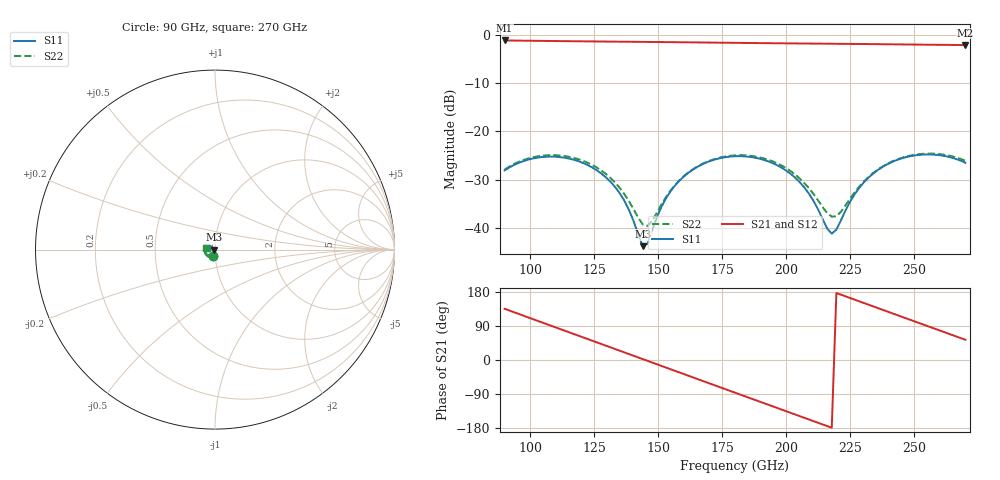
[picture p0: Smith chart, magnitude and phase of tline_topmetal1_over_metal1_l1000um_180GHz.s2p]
#  GHZ S DB R 50
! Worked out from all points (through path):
!   101 points, 90 GHz to 270 GHz, reference 50 ohm
!   highest |S21| = -1.18 dB at 90 GHz (marker M1); lowest = -2.1 dB at 270 GHz (marker M2)
!   group delay of S21, straight-line fit = 6.82 ps
!   lowest |S11| = -43.8 dB at 144 GHz (marker M3), VSWR 1.01, Z = 49.4 - j0.122 ohm
!   |S11| at or under -10 dB: start of sweep to end of sweep
!   |S22| runs from -39.6 to -24.6 dB; largest |S21 - S12| = 9.3e-14
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90  -28.12 -109.5  -1.18 135.2  -1.18 135.2  -27.94 -108.3
99  -25.91 -130.3  -1.23 113.0  -1.23 113.0  -25.68 -128.3
106.2  -25.27 -147.5  -1.28 95.2  -1.28 95.2  -25.00 -144.8
120.6  -26.56 179.0  -1.36 59.8  -1.36 59.8  -26.12 -176.5
127.8  -28.76 163.8  -1.40 42.1  -1.40 42.1  -28.15 169.8
135  -32.87 152.4  -1.43 24.4  -1.43 24.4  -31.76 161.1
138.6  -36.31 151.9  -1.45 15.6  -1.45 15.6  -34.52 162.4
144  -43.81 -168.9  -1.48 2.3  -1.48 2.3  -39.32 -170.3
145.8  -43.33 -136.5  -1.48 -2.1  -1.48 -2.1  -39.63 -151.5
151.2  -35.72 -105.1  -1.51 -15.4  -1.51 -15.4  -35.24 -117.4
156.6  -31.22 -108.7  -1.54 -28.7  -1.54 -28.7  -31.12 -115.0
163.8  -27.85 -121.4  -1.58 -46.4  -1.58 -46.4  -27.78 -124.3
180  -25.17 -156.1  -1.67 -86.2  -1.67 -86.2  -25.00 -155.6
189  -25.61 -175.6  -1.72 -108.3  -1.72 -108.3  -25.34 -173.6
198  -27.48 166.3  -1.77 -130.3  -1.77 -130.3  -27.04 170.0
210.6  -34.37 152.3  -1.83 -161.2  -1.83 -161.2  -32.95 160.1
217.8  -41.21 -163.3  -1.86 -178.8  -1.86 -178.8  -37.71 -168.3
221.4  -38.45 -126.2  -1.88 172.3  -1.88 172.3  -36.68 -140.7
228.6  -31.68 -115.7  -1.91 154.7  -1.91 154.7  -31.43 -123.8
241.2  -26.39 -135.1  -1.98 123.8  -1.98 123.8  -26.30 -137.8
255.6  -24.80 -164.4  -2.06 88.6  -2.06 88.6  -24.62 -164.3
270  -26.52 166.9  -2.13 53.4  -2.13 53.4  -26.11 169.8
